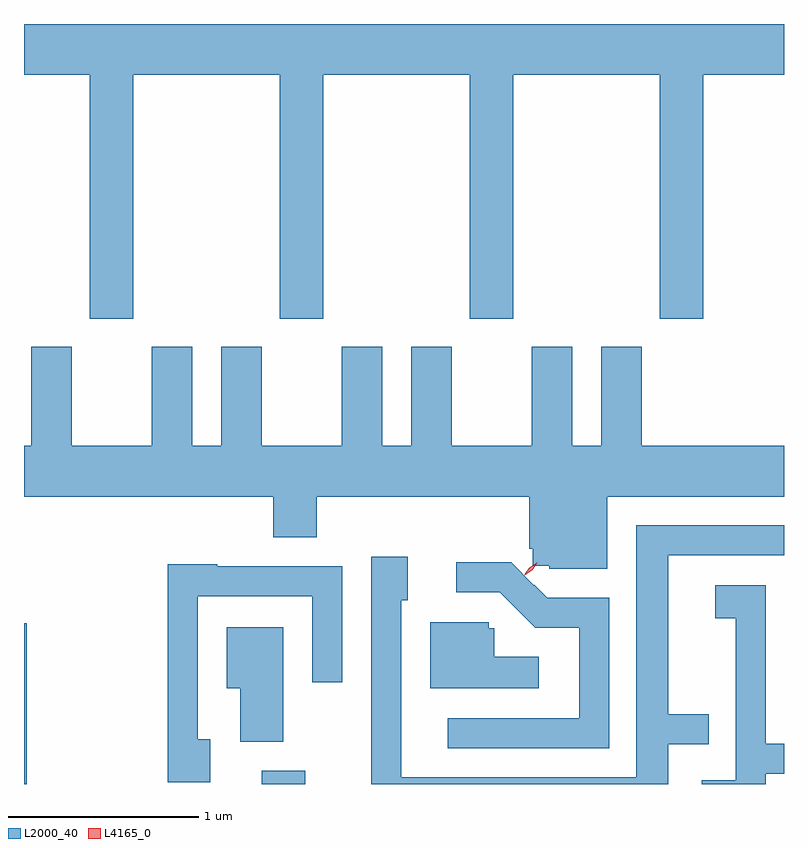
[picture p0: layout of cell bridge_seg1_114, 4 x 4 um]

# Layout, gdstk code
import gdstk
lib = gdstk.Library(unit=1e-6, precision=1e-09)
def R(c, l, rs):  # rectangles x0, y0, x1, y1
    for r in rs: c.add(gdstk.rectangle(r[:2], r[2:], *l))
def P(c, l, *ps):  # polygons
    for p in ps: c.add(gdstk.Polygon(p, *l))
L2000_40 = (2000, 40)
L4165_0 = (4165, 0)

bridge_seg1_114 = lib.new_cell('bridge_seg1_114')
R(bridge_seg1_114, L2000_40, [(1445.519,840.343,1445.534,841.189), (1446.771,840.343,1446.999,840.414)])
P(bridge_seg1_114, L2000_40, [(1446.094,844.076),(1446.866,844.076),(1446.866,842.791),(1447.094,842.791),(1447.094,844.076),(1447.866,844.076),(1447.866,842.791),(1448.094,842.791),(1448.094,844.076),(1448.866,844.076),(1448.866,842.791),(1449.094,842.791),(1449.094,844.076),(1449.519,844.076),(1449.519,844.343),(1445.519,844.343),(1445.519,844.076),(1445.866,844.076),(1445.866,842.791),(1446.094,842.791)],
  [(1448.589,841.856),(1449.519,841.856),(1449.519,842.124),(1448.769,842.124),(1448.769,842.644),(1448.556,842.644),(1448.556,842.124),(1448.404,842.124),(1448.404,842.644),(1448.191,842.644),(1448.191,842.124),(1447.769,842.124),(1447.769,842.644),(1447.556,842.644),(1447.556,842.124),(1447.404,842.124),(1447.404,842.644),(1447.191,842.644),(1447.191,842.124),(1446.769,842.124),(1446.769,842.644),(1446.556,842.644),(1446.556,842.124),(1446.404,842.124),(1446.404,842.644),(1446.191,842.644),(1446.191,842.124),(1445.769,842.124),(1445.769,842.644),(1445.556,842.644),(1445.556,842.124),(1445.519,842.124),(1445.519,841.856),(1446.831,841.856),(1446.831,841.641),(1447.059,841.641),(1447.059,841.856),(1448.179,841.856),(1448.179,841.58),(1448.196,841.58),(1448.196,841.493),(1448.283,841.493),(1448.283,841.476),(1448.589,841.476)],
  [(1448.909,840.551),(1449.123,840.551),(1449.123,840.709),(1448.909,840.709),(1448.909,841.546),(1449.519,841.546),(1449.519,841.704),(1448.741,841.704),(1448.741,840.379),(1447.504,840.379),(1447.504,841.311),(1447.539,841.311),(1447.539,841.539),(1447.346,841.539),(1447.346,840.343),(1448.909,840.343)],
  [(1448.599,841.324),(1448.273,841.324),(1448.204,841.393),(1448.202,841.39),(1448.083,841.509),(1447.793,841.509),(1447.793,841.351),(1448.024,841.351),(1448.209,841.166),(1448.441,841.166),(1448.441,840.689),(1447.748,840.689),(1447.748,840.531),(1448.599,840.531)],
  [(1446.499,840.579),(1446.434,840.579),(1446.434,841.331),(1447.036,841.331),(1447.036,840.878),(1447.194,840.878),(1447.194,841.489),(1446.535,841.489),(1446.535,841.499),(1446.276,841.499),(1446.276,840.351),(1446.499,840.351)],
  [(1449.424,840.396),(1449.519,840.396),(1449.519,840.554),(1449.424,840.554),(1449.424,841.389),(1449.156,841.389),(1449.156,841.216),(1449.266,841.216),(1449.266,840.364),(1449.086,840.364),(1449.086,840.343),(1449.424,840.343)],
  [(1448.228,841.014),(1447.994,841.014),(1447.994,841.164),(1447.964,841.164),(1447.964,841.194),(1447.656,841.194),(1447.656,840.846),(1448.228,840.846)],
  [(1446.884,841.169),(1446.586,841.169),(1446.586,840.846),(1446.656,840.846),(1446.656,840.566),(1446.884,840.566)])
P(bridge_seg1_114, L4165_0, [(1448.154,841.442),(1448.154,841.442),(1448.179,841.482),(1448.218,841.508),(1448.219,841.508),(1448.219,841.508),(1448.194,841.468),(1448.155,841.442)],
  [(1448.154,841.445),(1448.154,841.446),(1448.177,841.482),(1448.214,841.506),(1448.215,841.506),(1448.215,841.505),(1448.192,841.468),(1448.155,841.445)])

lib.write_gds('bridge_seg1_114.gds')
